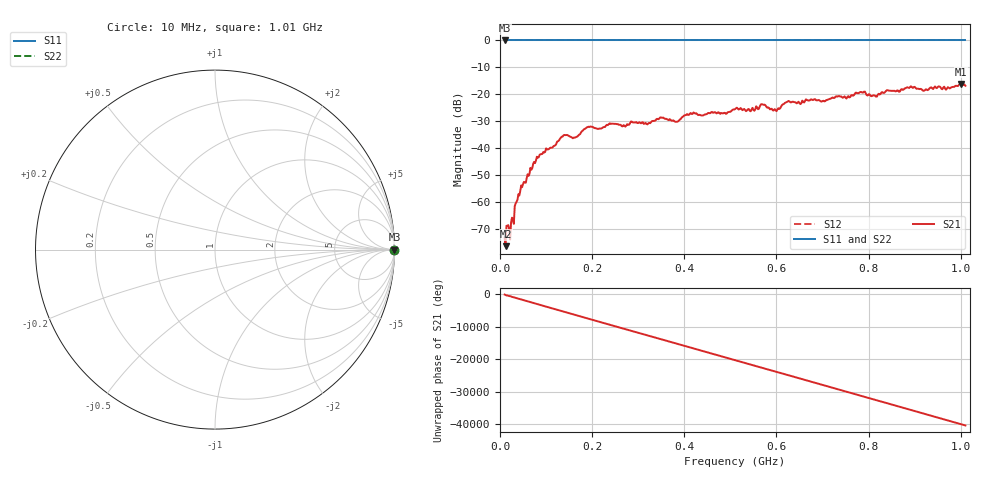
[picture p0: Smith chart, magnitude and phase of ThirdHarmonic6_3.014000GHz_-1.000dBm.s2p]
! 8/17/2025 8:39:21 AM
! C:\ANRITSUVNA\TEMP\TEMP.S2P
! CHANNEL.1
! TR.MEASUREMENT
! RAW.DATA
! RF.CORRECTION.OFF
! AVERAGING.OFF
! IF.BANDWIDTH: 5KHZ
! SWEEPTYPE:  FREQ.SWEEP(Linear)
! Reference Plane Port Info
! PORT:  PORT1  PORT2
! DISTANCE:  0  m  0  m
! TIME:  0  s  0  s
! PHASE.OFFSET:  0  deg.  0  deg.
! LOSS:  0  dB  0  dB
! REF.LOSS:  0  dB  0  dB
! REF.FREQ:  0  Hz  0  Hz
! Power Info
! POWER:  -20  dBm  -20  dBm
! EFF.POWER:  -20  dBm  -20  dBm
! SOURCE.ATTEN:  0  dB  0  dB
! TEST.ATTEN:  0  dB  0  dB
# GHZ S RI R 50.0
! FREQ.GHZ  S11RE  S11IM  S21RE  S21IM  S12RE  S12IM  S22RE  S22IM
!; PortSelection: Port_12
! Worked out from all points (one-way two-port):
!   501 points, 10 MHz to 1.01 GHz, reference 50 ohm
!   highest |S21| = -16.17 dB at 1 GHz (marker M1); lowest = -76.4 dB at 12 MHz (marker M2)
!   lowest |S11| = 0.0 dB at 10 MHz (marker M3)
!   |S11| at or under -10 dB: nowhere
!   |S22| runs from 0.0 to 0.0 dB; largest |S21 - S12| = 1.1
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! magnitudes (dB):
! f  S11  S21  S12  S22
! 10 MHz  0.0  -73.2  0.0  0.0
! 12 MHz  0.0  -76.4  0.0  0.0
! 26 MHz  0.0  -65.8  0.0  0.0
! 36 MHz  0.0  -59.9  0.0  0.0
! 48 MHz  0.0  -54.5  0.0  0.0
! 84 MHz  0.0  -43.4  0.0  0.0
! 136 MHz  0.0  -35.7  0.0  0.0
! 162 MHz  0.0  -36.1  0.0  0.0
! 178 MHz  0.0  -33.7  0.0  0.0
! 344 MHz  0.0  -29.2  0.0  0.0
! 384 MHz  0.0  -30.2  0.0  0.0
! 416 MHz  0.0  -27.3  0.0  0.0
! 510 MHz  0.0  -25.5  0.0  0.0
! 570 MHz  0.0  -23.7  0.0  0.0
! 596 MHz  0.0  -25.5  0.0  0.0
! 624 MHz  0.0  -22.7  0.0  0.0
! 678 MHz  0.0  -22.1  0.0  0.0
! 788 MHz  0.0  -19.3  0.0  0.0
! 814 MHz  0.0  -20.6  0.0  0.0
! 844 MHz  0.0  -18.6  0.0  0.0
! 1 GHz  0.0  -16.2  0.0  0.0
! 1.01 GHz  0.0  -16.8  0.0  0.0
